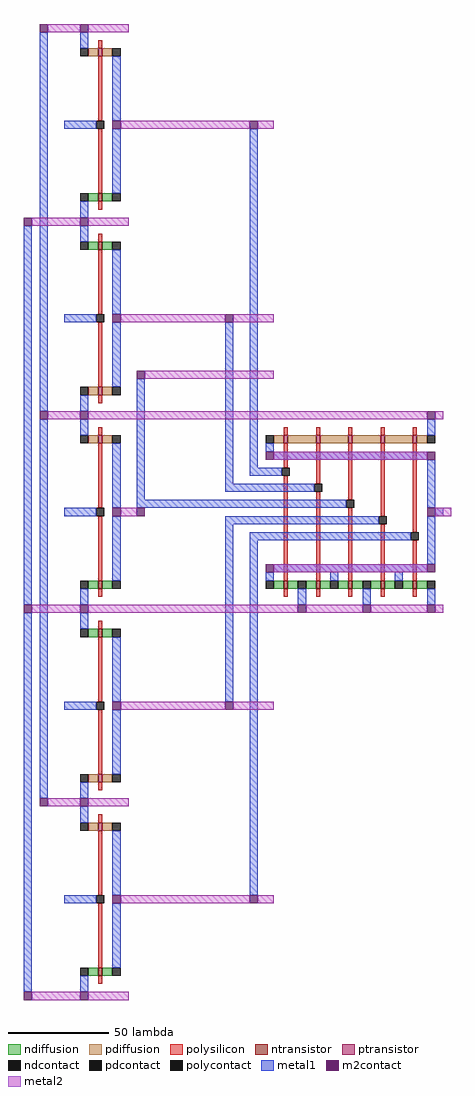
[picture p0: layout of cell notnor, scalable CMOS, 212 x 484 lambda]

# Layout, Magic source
magic
tech scmos
<< metal1 >>
rect -20 196 -16 384
rect -20 4 -16 192
rect -12 292 -8 480
rect -12 100 -8 288
rect 36 248 40 308
rect 80 256 84 336
rect 92 260 96 432
rect 80 252 92 256
rect 36 244 92 248
rect 80 236 92 240
rect 80 148 84 236
rect 92 52 96 232
<< metal2 >>
rect -8 480 4 484
rect 36 432 92 436
rect 96 432 104 436
rect -16 384 4 388
rect 36 336 80 340
rect 84 336 104 340
rect 40 308 104 312
rect -8 288 4 292
rect 32 288 96 292
rect -16 192 4 196
rect 32 192 96 196
rect 36 144 80 148
rect 84 144 104 148
rect -8 96 4 100
rect 36 48 92 52
rect 96 48 104 52
rect -16 0 4 4
<< m2contact >>
rect -12 480 -8 484
rect -20 384 -16 388
rect -20 192 -16 196
rect 92 432 96 436
rect 80 336 84 340
rect -12 288 -8 292
rect 36 308 40 312
rect 36 240 40 244
rect 80 144 84 148
rect -12 96 -8 100
rect 92 48 96 52
rect -20 0 -16 4
use not5  not5_0
transform 1 0 0 0 1 384
box 0 -384 36 100
use nor  nor_0
transform 1 0 140 0 1 252
box -48 -60 52 40
<< end >>

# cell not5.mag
magic
tech scmos
use not  not_4
transform 1 0 -4 0 1 -332
box 4 -52 36 48
use not  not_3
transform 1 0 -4 0 -1 -240
box 4 -52 36 48
use not  not_2
transform 1 0 -4 0 1 -140
box 4 -52 36 48
use not  not_1
transform 1 0 -4 0 -1 -48
box 4 -52 36 48
use not  not_0
transform 1 0 -4 0 1 52
box 4 -52 36 48
<< end >>

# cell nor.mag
magic
tech scmos
<< polysilicon >>
rect -31 28 -29 32
rect -15 28 -13 32
rect 1 28 3 32
rect 17 28 19 32
rect 33 28 35 32
rect -31 12 -29 24
rect -31 -44 -29 8
rect -15 4 -13 24
rect -15 -44 -13 0
rect 1 -4 3 24
rect 1 -44 3 -8
rect 17 -12 19 24
rect 17 -44 19 -16
rect 33 -20 35 24
rect 33 -44 35 -24
rect -31 -52 -29 -48
rect -15 -52 -13 -48
rect 1 -52 3 -48
rect 17 -52 19 -48
rect 33 -52 35 -48
<< ndiffusion >>
rect -36 -48 -31 -44
rect -29 -48 -24 -44
rect -20 -48 -15 -44
rect -13 -48 -8 -44
rect -4 -48 1 -44
rect 3 -48 8 -44
rect 12 -48 17 -44
rect 19 -48 24 -44
rect 28 -48 33 -44
rect 35 -48 40 -44
<< pdiffusion >>
rect -36 24 -31 28
rect -29 24 -15 28
rect -13 24 1 28
rect 3 24 17 28
rect 19 24 33 28
rect 35 24 40 28
<< metal1 >>
rect 40 28 44 36
rect -40 20 -36 24
rect -36 16 40 20
rect -48 8 -32 12
rect -48 0 -16 4
rect -48 -8 0 -4
rect 40 -8 44 16
rect 44 -12 48 -8
rect -48 -16 16 -12
rect -48 -24 32 -20
rect 40 -36 44 -12
rect -36 -40 40 -36
rect -40 -44 -36 -40
rect -8 -44 -4 -40
rect 24 -44 28 -40
rect -24 -56 -20 -48
rect 8 -56 12 -48
rect 40 -56 44 -48
<< metal2 >>
rect -44 36 40 40
rect 44 36 48 40
rect -36 16 40 20
rect 44 -12 52 -8
rect -36 -40 40 -36
rect -44 -60 -24 -56
rect -20 -60 8 -56
rect 12 -60 40 -56
rect 44 -60 48 -56
<< ntransistor >>
rect -31 -48 -29 -44
rect -15 -48 -13 -44
rect 1 -48 3 -44
rect 17 -48 19 -44
rect 33 -48 35 -44
<< ptransistor >>
rect -31 24 -29 28
rect -15 24 -13 28
rect 1 24 3 28
rect 17 24 19 28
rect 33 24 35 28
<< polycontact >>
rect -32 8 -28 12
rect -16 0 -12 4
rect 0 -8 4 -4
rect 16 -16 20 -12
rect 32 -24 36 -20
<< ndcontact >>
rect -40 -48 -36 -44
rect -24 -48 -20 -44
rect -8 -48 -4 -44
rect 8 -48 12 -44
rect 24 -48 28 -44
rect 40 -48 44 -44
<< pdcontact >>
rect -40 24 -36 28
rect 40 24 44 28
<< m2contact >>
rect 40 36 44 40
rect -40 16 -36 20
rect 40 16 44 20
rect 40 -12 44 -8
rect -40 -40 -36 -36
rect 40 -40 44 -36
rect -24 -60 -20 -56
rect 8 -60 12 -56
rect 40 -60 44 -56
<< end >>

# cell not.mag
magic
tech scmos
<< polysilicon >>
rect 21 36 23 40
rect 21 0 23 32
rect 21 -36 23 -4
rect 21 -44 23 -40
<< ndiffusion >>
rect 16 -40 21 -36
rect 23 -40 28 -36
<< pdiffusion >>
rect 16 32 21 36
rect 23 32 28 36
<< metal1 >>
rect 12 36 16 44
rect 28 0 32 32
rect 4 -4 20 0
rect 28 -36 32 -4
rect 12 -48 16 -40
<< metal2 >>
rect 8 44 12 48
rect 16 44 36 48
rect 32 -4 40 0
rect 8 -52 12 -48
rect 16 -52 36 -48
<< ntransistor >>
rect 21 -40 23 -36
<< ptransistor >>
rect 21 32 23 36
<< polycontact >>
rect 20 -4 24 0
<< ndcontact >>
rect 12 -40 16 -36
rect 28 -40 32 -36
<< pdcontact >>
rect 12 32 16 36
rect 28 32 32 36
<< m2contact >>
rect 12 44 16 48
rect 28 -4 32 0
rect 12 -52 16 -48
<< end >>
